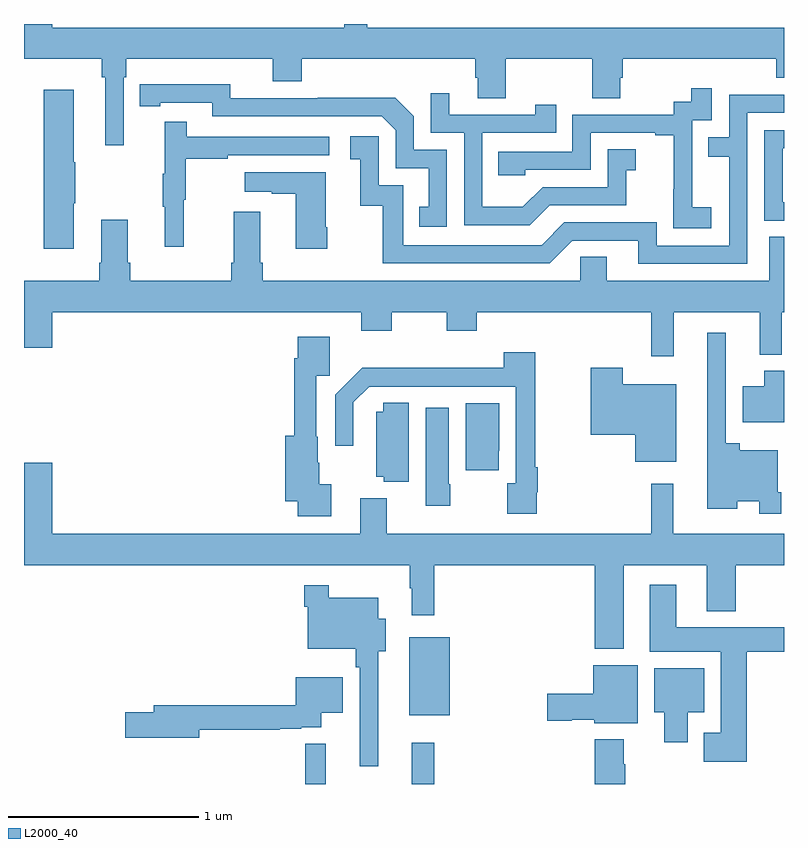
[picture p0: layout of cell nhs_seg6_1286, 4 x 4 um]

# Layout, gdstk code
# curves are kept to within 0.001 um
import gdstk
lib = gdstk.Library(unit=1e-6, precision=1e-09)
def R(c, l, rs):  # rectangles x0, y0, x1, y1
    for r in rs: c.add(gdstk.rectangle(r[:2], r[2:], *l))
def P(c, l, *ps):  # polygons
    for p in ps: c.add(gdstk.Polygon(p, *l))
L2000_40 = (2000, 40)

nhs_seg6_1286 = lib.new_cell('nhs_seg6_1286')
R(nhs_seg6_1286, L2000_40, [(190.48,963.5,190.589,963.713), (191.042,963.5,191.159,963.718), (191.027,963.863,191.242,964.273)])
P(nhs_seg6_1286, L2000_40, [(189.525,967.22),(189.539,967.22),(189.539,967.316),(190.31,967.316),(190.31,967.199),(190.463,967.199),(190.463,967.316),(191.375,967.316),(191.375,967.218),(191.387,967.218),(191.387,967.108),(191.535,967.108),(191.535,967.316),(191.992,967.316),(191.992,967.108),(192.139,967.108),(192.139,967.218),(192.152,967.218),(192.152,967.316),(192.959,967.316),(192.959,967.217),(193,967.217),(193,967.48),(190.807,967.48),(190.807,967.5),(190.686,967.5),(190.686,967.48),(189.148,967.48),(189.148,967.5),(189,967.5),(189,967.316),(189.409,967.316),(189.409,967.22),(189.428,967.22),(189.428,966.861),(189.525,966.861)],
  [(191.226,966.837),(191.052,966.837),(191.052,967.014),(190.954,967.112),(190.546,967.112),(190.546,967.11),(190.086,967.11),(190.086,967.183),(189.61,967.182),(189.61,967.066),(189.718,967.066),(189.718,967.086),(189.99,967.086),(189.99,967.014),(190.884,967.014),(190.956,966.942),(190.956,966.741),(191.129,966.741),(191.129,966.537),(191.08,966.537),(191.08,966.432),(191.226,966.432)],
  [(192.616,966.535),(192.518,966.535),(192.518,966.764),(192.516,966.764),(192.516,966.993),(192.621,966.993),(192.621,967.162),(192.513,967.162),(192.513,967.092),(192.42,967.092),(192.42,967.023),(191.886,967.023),(191.886,966.828),(191.497,966.828),(191.497,966.705),(191.637,966.705),(191.637,966.732),(191.982,966.732),(191.982,966.927),(192.323,966.927),(192.323,966.915),(192.419,966.915),(192.419,966.631),(192.418,966.631),(192.418,966.425),(192.616,966.425)],
  [(189.262,966.556),(189.27,966.556),(189.27,966.773),(189.262,966.773),(189.262,967.153),(189.104,967.153),(189.104,966.318),(189.262,966.318)],
  [(191.767,966.546),(192.171,966.546),(192.171,966.731),(192.22,966.731),(192.22,966.841),(192.072,966.841),(192.072,966.642),(191.73,966.642),(191.626,966.538),(191.412,966.538),(191.412,966.927),(191.801,966.927),(191.801,967.075),(191.69,967.075),(191.69,967.023),(191.239,967.023),(191.239,967.135),(191.142,967.135),(191.142,966.927),(191.316,966.927),(191.316,966.441),(191.662,966.441)],
  [(192.807,967.032),(193,967.032),(193,967.128),(192.711,967.128),(192.711,966.903),(192.601,966.903),(192.601,966.802),(192.711,966.802),(192.711,966.333),(192.33,966.333),(192.33,966.456),(191.844,966.456),(191.724,966.336),(190.995,966.336),(190.995,966.651),(190.866,966.651),(190.866,966.91),(190.716,966.91),(190.716,966.789),(190.769,966.789),(190.769,966.543),(190.887,966.543),(190.887,966.24),(191.766,966.24),(191.886,966.36),(192.233,966.36),(192.233,966.237),(192.807,966.237)],
  [(189.842,966.576),(189.85,966.576),(189.85,966.79),(190.073,966.79),(190.073,966.81),(190.606,966.81),(190.606,966.906),(189.857,966.906),(189.857,966.985),(189.74,966.985),(189.74,966.713),(189.729,966.713),(189.729,966.539),(189.74,966.539),(189.74,966.327),(189.842,966.327)],
  [(193,966.561),(192.993,966.561),(192.993,966.846),(193,966.846),(193,966.942),(192.897,966.942),(192.897,966.465),(193,966.465)],
  [(190.596,966.43),(190.588,966.43),(190.588,966.721),(190.161,966.721),(190.161,966.617),(190.304,966.617),(190.304,966.607),(190.43,966.607),(190.43,966.318),(190.596,966.318)],
  [(192.419,965.984),(192.872,965.984),(192.872,965.759),(192.989,965.759),(192.989,965.984),(193,965.984),(193,966.38),(192.923,966.38),(192.923,966.148),(192.067,966.148),(192.067,966.275),(191.928,966.275),(191.928,966.148),(190.256,966.148),(190.256,966.244),(190.243,966.244),(190.243,966.511),(190.103,966.511),(190.103,966.244),(190.091,966.244),(190.091,966.148),(189.56,966.148),(189.56,966.244),(189.547,966.244),(189.547,966.469),(189.407,966.469),(189.407,966.244),(189.395,966.244),(189.395,966.148),(189,966.148),(189,965.796),(189.148,965.796),(189.148,965.984),(190.775,965.984),(190.775,965.885),(190.935,965.885),(190.935,965.984),(191.224,965.984),(191.224,965.885),(191.384,965.885),(191.384,965.984),(192.301,965.984),(192.301,965.751),(192.419,965.751)],
  [(192.986,965.035),(192.966,965.035),(192.966,965.257),(192.767,965.257),(192.767,965.293),(192.693,965.293),(192.693,965.875),(192.596,965.875),(192.596,964.949),(192.754,964.949),(192.754,964.988),(192.87,964.988),(192.87,964.923),(192.986,964.923)],
  [(190.618,965.078),(190.554,965.078),(190.554,965.192),(190.546,965.192),(190.546,965.328),(190.539,965.328),(190.539,965.649),(190.608,965.649),(190.608,965.854),(190.442,965.854),(190.442,965.741),(190.423,965.741),(190.423,965.332),(190.376,965.332),(190.376,964.988),(190.442,964.988),(190.442,964.908),(190.618,964.908)],
  [(191.698,965.035),(191.705,965.035),(191.705,965.167),(191.69,965.167),(191.69,965.773),(191.525,965.773),(191.525,965.69),(190.779,965.69),(190.638,965.548),(190.638,965.28),(190.734,965.28),(190.734,965.508),(190.818,965.592),(191.589,965.592),(191.589,965.083),(191.543,965.083),(191.543,964.923),(191.698,964.923)],
  [(192.433,965.605),(192.15,965.605),(192.15,965.692),(191.984,965.692),(191.984,965.339),(192.218,965.339),(192.218,965.195),(192.433,965.195)],
  [(193,965.674),(192.896,965.674),(192.896,965.593),(192.782,965.593),(192.782,965.405),(193,965.405)],
  [(191.026,965.507),(190.89,965.507),(190.89,965.46),(190.853,965.46),(190.853,965.117),(190.893,965.117),(190.893,965.09),(191.026,965.09)],
  [(191.499,965.254),(191.5,965.254),(191.5,965.503),(191.324,965.503),(191.324,965.151),(191.499,965.151)],
  [(191.244,965.077),(191.236,965.077),(191.236,965.479),(191.114,965.479),(191.114,964.965),(191.244,964.965)],
  [(192.157,964.652),(192.593,964.652),(192.593,964.409),(192.746,964.409),(192.746,964.652),(193,964.652),(193,964.816),(192.418,964.816),(192.418,965.08),(192.301,965.08),(192.301,964.816),(190.909,964.816),(190.909,965.005),(190.769,965.005),(190.769,964.816),(189.148,964.816),(189.148,965.191),(189,965.191),(189,964.652),(191.031,964.652),(191.031,964.529),(191.042,964.529),(191.042,964.389),(191.159,964.389),(191.159,964.652),(192.005,964.652),(192.005,964.211),(192.157,964.211)],
  [(192.803,964.195),(193,964.195),(193,964.324),(192.433,964.324),(192.433,964.549),(192.293,964.549),(192.293,964.196),(192.668,964.196),(192.668,963.769),(192.578,963.769),(192.578,963.617),(192.803,963.617)],
  [(190.864,964.199),(190.903,964.199),(190.903,964.369),(190.864,964.369),(190.864,964.48),(190.603,964.48),(190.603,964.546),(190.474,964.546),(190.474,964.433),(190.494,964.433),(190.494,964.211),(190.747,964.211),(190.747,964.115),(190.767,964.115),(190.767,963.594),(190.864,963.594)],
  [(192.229,964.126),(191.996,964.126),(191.996,963.974),(191.754,963.974),(191.754,963.832),(191.883,963.832),(191.883,963.839),(192,963.839),(192,963.821),(192.229,963.821)],
  [(192.493,963.878),(192.58,963.878),(192.58,964.108),(192.317,964.108),(192.317,963.878),(192.371,963.878),(192.371,963.72),(192.493,963.72)],
  [(189.922,963.786),(190.346,963.786),(190.346,963.792),(190.46,963.792),(190.46,963.798),(190.564,963.798),(190.564,963.875),(190.678,963.875),(190.678,964.063),(190.43,964.063),(190.43,963.914),(189.683,963.914),(189.683,963.878),(189.534,963.878),(189.534,963.743),(189.922,963.743)],
  [(192.165,963.605),(192.157,963.605),(192.157,963.736),(192.005,963.736),(192.005,963.5),(192.165,963.5)])

lib.write_gds('nhs_seg6_1286.gds')
